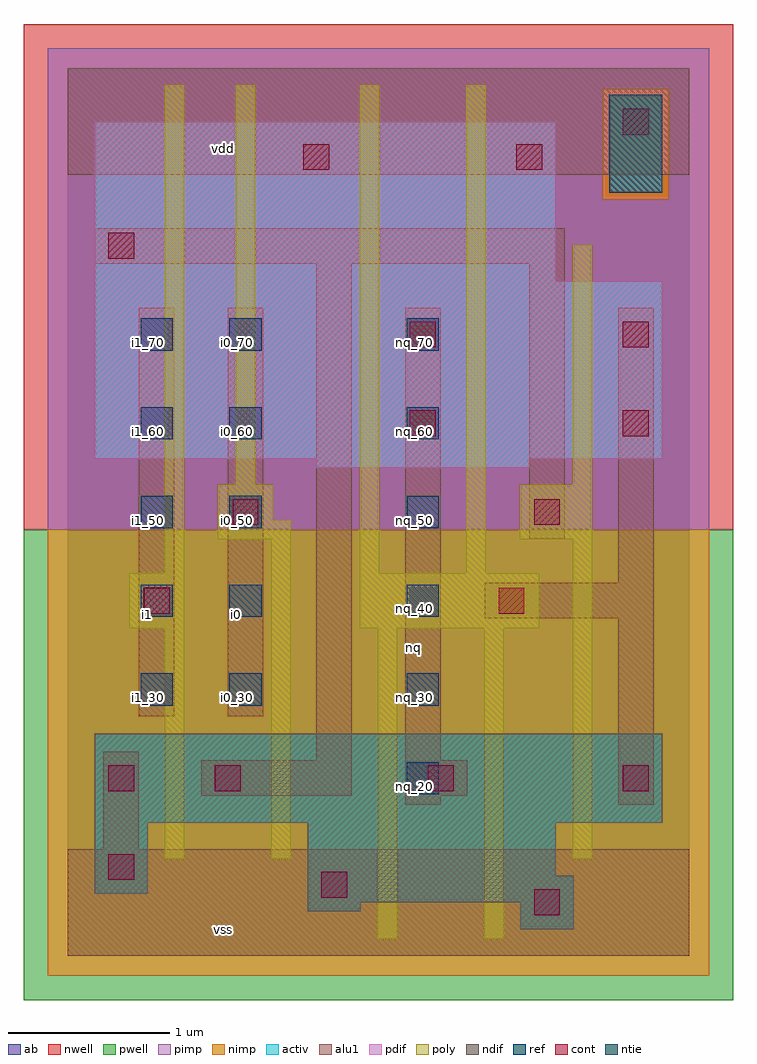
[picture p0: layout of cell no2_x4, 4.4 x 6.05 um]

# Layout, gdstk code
import gdstk
lib = gdstk.Library(unit=1e-6, precision=2.5e-09)
def R(c, l, rs):  # rectangles x0, y0, x1, y1
    for r in rs: c.add(gdstk.rectangle(r[:2], r[2:], *l))
def A(c, l, x, y, w, h, nx, ny, dx, dy):  # array of equal rectangles
    R(c, l, [(x+i*dx, y+j*dy, x+i*dx+w, y+j*dy+h) for i in range(nx) for j in range(ny)])
ndif = (3, 0)
pdif = (4, 0)
ntie = (5, 0)
ref = (24, 0)
cont = (25, 0)
pwell = (41, 0)
nwell = (42, 0)
activ = (43, 0)
pimp = (44, 0)
nimp = (45, 0)
poly = (46, 0)
alu1 = (49, 0)
ab = (63, 0)

no2_x4 = lib.new_cell('no2_x4')
R(no2_x4, ndif, [(2.805,0.165,3.135,0.33), (1.485,0.275,1.815,0.33), (1.485,0.33,3.135,0.495), (0.165,0.385,0.495,0.825), (1.485,0.495,3.025,0.825), (0.165,0.825,3.685,1.375)])
R(no2_x4, pdif, [(1.54,3.025,2.86,3.08), (0.165,3.08,3.685,4.18), (0.165,4.18,3.025,5.17)])
R(no2_x4, ntie, [(3.355,4.73,3.685,5.335)])
A(no2_x4, ref, 2.1, 1, 0.2, 0.2, 1, 6, 0, 0.55)
A(no2_x4, ref, 0.45, 1.55, 0.2, 0.2, 1, 5, 0, 0.55)
A(no2_x4, ref, 1, 1.55, 0.2, 0.2, 1, 5, 0, 0.55)
R(no2_x4, cont, [(2.89,0.25,3.05,0.41), (1.57,0.36,1.73,0.52), (0.25,0.47,0.41,0.63), (0.25,1.02,0.41,1.18), (0.91,1.02,1.07,1.18), (2.23,1.02,2.39,1.18), (3.44,1.02,3.6,1.18), (0.47,2.12,0.63,2.28), (2.67,2.12,2.83,2.28), (1.02,2.67,1.18,2.83), (2.89,2.67,3.05,2.83), (2.12,3.22,2.28,3.38), (3.44,3.22,3.6,3.38), (2.12,3.77,2.28,3.93), (3.44,3.77,3.6,3.93), (0.25,4.32,0.41,4.48), (1.46,4.87,1.62,5.03), (2.78,4.87,2.94,5.03), (3.44,5.09,3.6,5.25)])
R(no2_x4, pwell, [(-0.275,-0.275,4.125,2.64)])
R(no2_x4, nwell, [(-0.275,2.64,4.125,5.775)])
R(no2_x4, activ, [(2.805,0.165,3.135,0.33), (1.485,0.275,1.815,0.33), (1.485,0.33,3.135,0.495), (0.165,0.385,0.495,0.825), (1.485,0.495,3.025,0.825), (0.165,0.825,3.685,1.375), (1.54,3.025,2.86,3.08), (0.165,3.08,3.685,4.18), (0.165,4.18,3.025,5.17), (3.355,4.73,3.685,5.335)])
R(no2_x4, pimp, [(-0.125,2.64,3.975,4.69), (-0.125,4.69,3.315,5.375), (3.725,4.69,3.975,5.375), (-0.125,5.375,3.975,5.625)])
R(no2_x4, nimp, [(-0.125,-0.125,3.975,2.64), (3.315,4.69,3.725,5.375)])
R(no2_x4, poly, [(1.92,0.105,2.04,2.03), (2.58,0.105,2.7,2.03), (0.6,0.6,0.72,2.03), (1.26,0.6,1.38,2.58), (3.13,0.6,3.25,2.58), (0.38,2.03,0.72,2.37), (1.81,2.03,2.92,2.37), (0.6,2.37,0.72,5.395), (1.81,2.37,1.93,5.395), (2.47,2.37,2.59,5.395), (0.93,2.58,1.38,2.7), (2.8,2.58,3.25,2.92), (0.93,2.7,1.27,2.92), (1.04,2.92,1.16,5.395), (3.13,2.92,3.25,4.405)])
R(no2_x4, alu1, [(0,0,3.85,0.66), (0.22,0.66,0.44,1.265), (2.09,0.935,2.31,0.99), (3.41,0.935,3.63,2.09), (0.825,0.99,1.76,1.21), (2.09,0.99,2.475,1.21), (1.54,1.21,1.76,4.29), (2.09,1.21,2.31,4.015), (0.44,1.485,0.66,4.015), (0.99,1.485,1.21,4.015), (2.585,2.09,3.63,2.31), (3.41,2.31,3.63,4.015), (2.86,2.585,3.08,4.29), (0.165,4.29,3.08,4.51), (0,4.84,3.85,5.5)])
R(no2_x4, ab, [(0,0,3.85,5.5)])
no2_x4.add(gdstk.Label('vss', (0.9625,0.165), layer=49, texttype=0))
no2_x4.add(gdstk.Label('nq', (2.145,1.91), layer=49, texttype=0))
no2_x4.add(gdstk.Label('i0', (1.045,2.1175), layer=49, texttype=0))
no2_x4.add(gdstk.Label('i1', (0.495,2.1175), layer=49, texttype=0))
no2_x4.add(gdstk.Label('vdd', (0.9625,5.005), layer=49, texttype=0))
no2_x4.add(gdstk.Label('nq_30', (2.15,1.6), layer=24, texttype=0))
no2_x4.add(gdstk.Label('nq_40', (2.15,2.15), layer=24, texttype=0))
no2_x4.add(gdstk.Label('nq_50', (2.15,2.7), layer=24, texttype=0))
no2_x4.add(gdstk.Label('nq_60', (2.15,3.25), layer=24, texttype=0))
no2_x4.add(gdstk.Label('nq_70', (2.15,3.8), layer=24, texttype=0))
no2_x4.add(gdstk.Label('i0_70', (1.05,3.8), layer=24, texttype=0))
no2_x4.add(gdstk.Label('i0_60', (1.05,3.25), layer=24, texttype=0))
no2_x4.add(gdstk.Label('i0_50', (1.05,2.7), layer=24, texttype=0))
no2_x4.add(gdstk.Label('i0_40', (1.05,2.15), layer=24, texttype=0))
no2_x4.add(gdstk.Label('i0_30', (1.05,1.6), layer=24, texttype=0))
no2_x4.add(gdstk.Label('i1_30', (0.5,1.6), layer=24, texttype=0))
no2_x4.add(gdstk.Label('i1_40', (0.5,2.15), layer=24, texttype=0))
no2_x4.add(gdstk.Label('i1_50', (0.5,2.7), layer=24, texttype=0))
no2_x4.add(gdstk.Label('i1_60', (0.5,3.25), layer=24, texttype=0))
no2_x4.add(gdstk.Label('i1_70', (0.5,3.8), layer=24, texttype=0))
no2_x4.add(gdstk.Label('nq_20', (2.15,1.05), layer=24, texttype=0))

lib.write_gds('no2_x4.gds')
